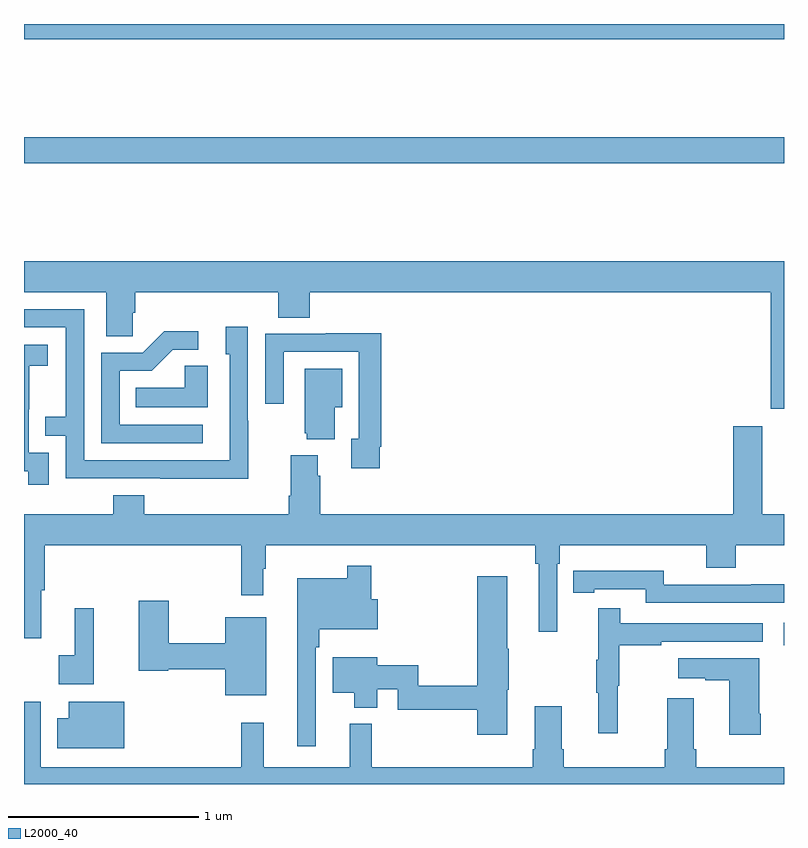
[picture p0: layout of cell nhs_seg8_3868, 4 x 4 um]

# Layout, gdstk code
import gdstk
lib = gdstk.Library(unit=1e-6, precision=1e-09)
def R(c, l, rs):  # rectangles x0, y0, x1, y1
    for r in rs: c.add(gdstk.rectangle(r[:2], r[2:], *l))
def P(c, l, *ps):  # polygons
    for p in ps: c.add(gdstk.Polygon(p, *l))
L2000_40 = (2000, 40)

nhs_seg8_3868 = lib.new_cell('nhs_seg8_3868')
R(nhs_seg8_3868, L2000_40, [(352.998,1126.629,353,1126.75), (349,1129.168,353,1129.304), (349,1129.82,353,1129.9)])
P(nhs_seg8_3868, L2000_40, [(353,1128.652),(349,1128.652),(349,1128.488),(349.433,1128.488),(349.433,1128.256),(349.572,1128.256),(349.572,1128.379),(349.586,1128.379),(349.586,1128.488),(350.339,1128.488),(350.339,1128.355),(350.504,1128.355),(350.504,1128.488),(352.931,1128.488),(352.931,1127.874),(353,1127.874)],
  [(350.181,1127.813),(350.178,1127.813),(350.178,1128.307),(350.063,1128.307),(350.063,1128.162),(350.082,1128.162),(350.082,1127.604),(349.317,1127.604),(349.317,1128.399),(349,1128.399),(349,1128.303),(349.221,1128.303),(349.221,1127.834),(349.111,1127.834),(349.111,1127.733),(349.221,1127.733),(349.221,1127.508),(349.717,1127.508),(349.717,1127.507),(350.181,1127.507)],
  [(349.942,1127.79),(349.503,1127.79),(349.503,1128.075),(349.672,1128.075),(349.783,1128.186),(349.918,1128.186),(349.918,1128.284),(349.739,1128.284),(349.626,1128.171),(349.407,1128.171),(349.407,1127.694),(349.942,1127.694)],
  [(350.872,1127.674),(350.879,1127.674),(350.879,1128.272),(350.587,1128.272),(350.587,1128.27),(350.271,1128.27),(350.271,1127.901),(350.367,1127.901),(350.367,1128.174),(350.763,1128.174),(350.763,1127.718),(350.723,1127.718),(350.723,1127.562),(350.872,1127.562)],
  [(349.131,1127.643),(349.026,1127.643),(349.026,1127.873),(349.028,1127.873),(349.028,1128.101),(349.126,1128.101),(349.126,1128.211),(349,1128.211),(349,1127.545),(349.023,1127.545),(349.023,1127.475),(349.131,1127.475)],
  [(349.966,1128.101),(349.845,1128.101),(349.845,1127.986),(349.588,1127.986),(349.588,1127.882),(349.966,1127.882)],
  [(350.635,1127.882),(350.674,1127.882),(350.674,1128.085),(350.477,1128.085),(350.477,1127.745),(350.489,1127.745),(350.489,1127.714),(350.635,1127.714)],
  [(349.091,1126.92),(349.109,1126.92),(349.109,1127.156),(350.143,1127.156),(350.143,1126.893),(350.26,1126.893),(350.26,1127.033),(350.272,1127.033),(350.272,1127.156),(351.691,1127.156),(351.691,1127.06),(351.71,1127.06),(351.71,1126.701),(351.807,1126.701),(351.807,1127.06),(351.821,1127.06),(351.821,1127.156),(352.592,1127.156),(352.592,1127.039),(352.745,1127.039),(352.745,1127.156),(353,1127.156),(353,1127.32),(352.885,1127.32),(352.885,1127.782),(352.733,1127.782),(352.733,1127.32),(350.558,1127.32),(350.558,1127.522),(350.545,1127.522),(350.545,1127.629),(350.405,1127.629),(350.405,1127.416),(350.393,1127.416),(350.393,1127.32),(349.634,1127.32),(349.634,1127.419),(349.469,1127.419),(349.469,1127.32),(349,1127.32),(349,1126.668),(349.091,1126.668)],
  [(350.535,1126.619),(350.555,1126.619),(350.555,1126.715),(350.863,1126.715),(350.863,1126.873),(350.828,1126.873),(350.828,1127.05),(350.7,1127.05),(350.7,1126.984),(350.438,1126.984),(350.438,1126.098),(350.535,1126.098)],
  [(353,1126.952),(352.828,1126.952),(352.828,1126.95),(352.368,1126.95),(352.368,1127.023),(352,1127.023),(352,1127.022),(351.892,1127.022),(351.892,1126.906),(352,1126.906),(352,1126.926),(352.272,1126.926),(352.272,1126.854),(353,1126.854)],
  [(351.544,1126.395),(351.552,1126.395),(351.552,1126.613),(351.544,1126.613),(351.544,1126.993),(351.386,1126.993),(351.386,1126.418),(351.076,1126.418),(351.076,1126.526),(350.86,1126.526),(350.86,1126.567),(350.624,1126.567),(350.624,1126.379),(350.738,1126.379),(350.738,1126.301),(350.86,1126.301),(350.86,1126.398),(350.967,1126.398),(350.967,1126.29),(351.386,1126.29),(351.386,1126.158),(351.544,1126.158)],
  [(350.275,1126.777),(350.06,1126.777),(350.06,1126.64),(349.762,1126.64),(349.762,1126.864),(349.604,1126.864),(349.604,1126.496),(349.758,1126.496),(349.758,1126.504),(350.06,1126.504),(350.06,1126.367),(350.275,1126.367)],
  [(349.368,1126.825),(349.268,1126.825),(349.268,1126.577),(349.182,1126.577),(349.182,1126.424),(349.368,1126.424)],
  [(352.124,1126.416),(352.132,1126.416),(352.132,1126.63),(352.355,1126.63),(352.355,1126.65),(352.888,1126.65),(352.888,1126.746),(352.139,1126.746),(352.139,1126.825),(352.022,1126.825),(352.022,1126.553),(352.011,1126.553),(352.011,1126.379),(352.022,1126.379),(352.022,1126.167),(352.124,1126.167)],
  [(352.878,1126.27),(352.87,1126.27),(352.87,1126.561),(352.443,1126.561),(352.443,1126.457),(352.586,1126.457),(352.586,1126.447),(352.712,1126.447),(352.712,1126.158),(352.878,1126.158)],
  [(351.689,1126.309),(351.689,1126.084),(351.677,1126.084),(351.677,1125.988),(350.831,1125.988),(350.831,1126.216),(350.714,1126.216),(350.714,1125.988),(350.261,1125.988),(350.261,1126.222),(350.143,1126.222),(350.143,1125.988),(349.089,1125.988),(349.089,1126.333),(349,1126.333),(349,1125.9),(353,1125.9),(353,1125.988),(352.538,1125.988),(352.538,1126.084),(352.525,1126.084),(352.525,1126.351),(352.385,1126.351),(352.385,1126.084),(352.373,1126.084),(352.373,1125.988),(351.842,1125.988),(351.842,1126.084),(351.829,1126.084),(351.829,1126.309)],
  [(349.528,1126.333),(349.235,1126.333),(349.235,1126.246),(349.174,1126.246),(349.174,1126.088),(349.528,1126.088)])

lib.write_gds('nhs_seg8_3868.gds')
